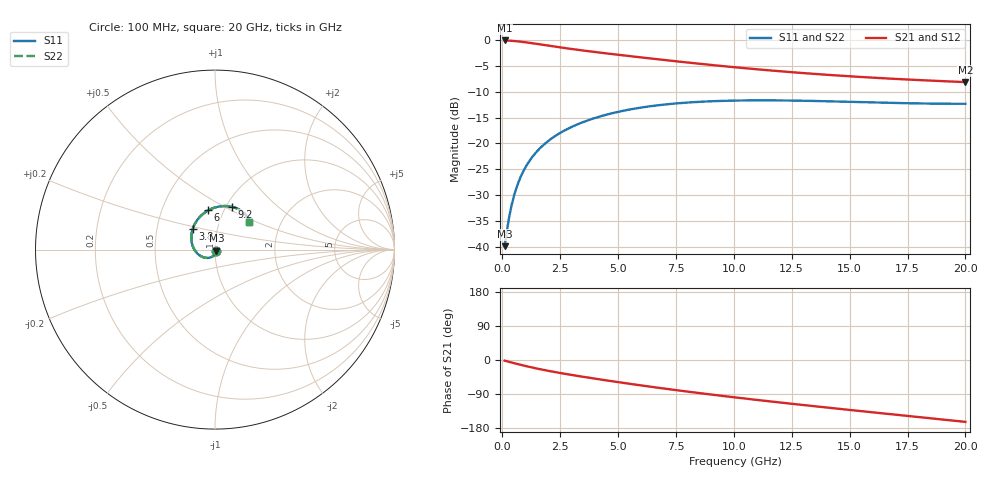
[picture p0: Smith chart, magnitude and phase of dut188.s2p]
! Touchstone file exported from HFSS 2024.1.0
!  File:  C:/UserFiles/LocalFiles/RDL_TSV_Batchsim/temp_RDL_TSV_188_1779440693.aedt
!  Generated:  05:20:59 PM May 22, 2026
!  Design:  RDL_TSV
!  Project:  temp_RDL_TSV_188_1779440693
!  Setup:  Setup1
!  Solution:  Sweep
! Variables:
!  dtsv = 11.85um
!  hbump = 3um
!  htsv = 90.81um
!  ldown = 402.85um
!  lrdl = 212.13um
!  p = 40
!  p1 = 54.96um
!  rhole = 10um
!  subl = 2057.07um
!  t = 450um
!  tdown = 4.01um
!  trdl = 2.9um
!  viad = 10um
!  wdown = 29.42um
!  wrdl = 28.53um
!  xbump = 18um
# GHz S MA R 50.000000
! Terminal data exported
! Port[1] = TM1_1_T1
! Port[2] = TM1_4_T1
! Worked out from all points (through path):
!   200 points, 100 MHz to 20 GHz, reference 50 ohm
!   highest |S21| = -0.08 dB at 100 MHz (marker M1); lowest = -8.1 dB at 20 GHz (marker M2)
!   group delay of S21, straight-line fit = 21.2 ps
!   lowest |S11| = -39.9 dB at 100 MHz (marker M3), VSWR 1.02, Z = 50.8 - j0.625 ohm
!   |S11| at or under -10 dB: start of sweep to end of sweep
!   |S22| runs from -39.9 to -11.7 dB; largest |S21 - S12| = 8.9e-15
!   S11 on the Smith chart (normalised r, x): 100 MHz: 1.02, -0.01; 3.8 GHz: 0.76, +0.18; 6 GHz: 0.85, +0.39; 9.2 GHz: 1.07, +0.54; 20 GHz: 1.38, +0.45
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0.1  0.0101 -37.5  0.991 -1.7  0.991 -1.7  0.0101 -37.5
! Gamma 0 0 0 0
! Port Impedance 50 0 50 0
0.3  0.01949 -76.2  0.9865 -5.0  0.9865 -5.0  0.01949 -76.2
0.4  0.02506 -87.2  0.9832 -6.6  0.9832 -6.6  0.02506 -87.2
0.5  0.03074 -96.1  0.9793 -8.2  0.9793 -8.2  0.03074 -96.1
0.6  0.03643 -103.7  0.9748 -9.8  0.9748 -9.8  0.03643 -103.7
0.8  0.04765 -116.8  0.9643 -12.9  0.9643 -12.9  0.04764 -116.8
1.1  0.06376 -133.5  0.9455 -17.2  0.9455 -17.2  0.06376 -133.5
1.5  0.08366 -152.3  0.9175 -22.6  0.9175 -22.6  0.08366 -152.3
2.1  0.1103 -176.0  0.8752 -29.8  0.8752 -29.8  0.1102 -176.0
2.7  0.1336 164.6  0.8365 -36.4  0.8365 -36.4  0.1336 164.6
3.5  0.1608 143.5  0.7914 -44.4  0.7914 -44.4  0.1608 143.5
3.8  0.17 136.8  0.776 -47.3  0.776 -47.3  0.17 136.8
4.9  0.1993 115.9  0.7247 -57.5  0.7247 -57.5  0.1993 115.9
6  0.222 99.7  0.6788 -67.1  0.6788 -67.1  0.222 99.7
6.8  0.2347 90.0  0.6481 -73.8  0.6481 -73.8  0.2346 90.0
8  0.2483 77.9  0.606 -83.4  0.606 -83.4  0.2482 77.9
9.2  0.2563 68.3  0.5686 -92.5  0.5686 -92.5  0.2563 68.3
10.1  0.2595 62.3  0.5435 -99.0  0.5435 -99.0  0.2594 62.3
11.7  0.2606 53.8  0.505 -110.2  0.505 -110.2  0.2604 53.8
13.4  0.2573 47.2  0.4715 -121.5  0.4715 -121.5  0.2572 47.2
16.7  0.2467 40.4  0.4237 -142.6  0.4237 -142.6  0.2465 40.4
20  0.2415 39.2  0.3915 -163.3  0.3915 -163.3  0.2414 39.3
